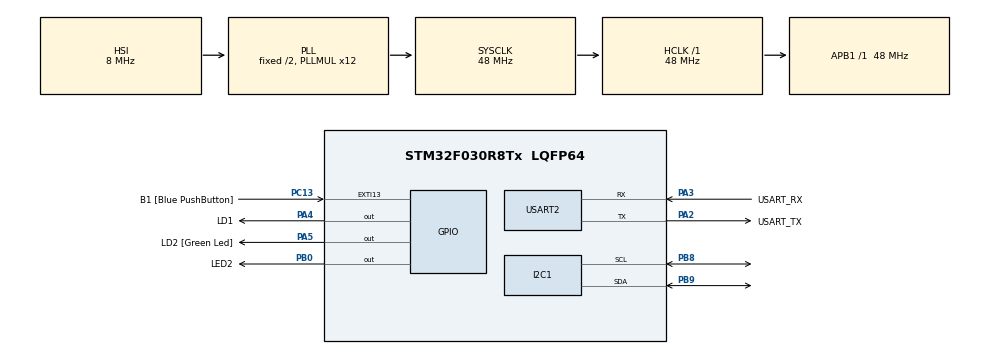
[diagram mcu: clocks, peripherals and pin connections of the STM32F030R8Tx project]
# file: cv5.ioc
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Dma.Request0=USART2_RX
Dma.USART2_RX.0.Direction=DMA_PERIPH_TO_MEMORY
Dma.USART2_RX.0.Instance=DMA1_Channel5
Dma.USART2_RX.0.MemDataAlignment=DMA_MDATAALIGN_BYTE
Dma.USART2_RX.0.MemInc=DMA_MINC_ENABLE
Dma.USART2_RX.0.Mode=DMA_CIRCULAR
Dma.USART2_RX.0.PeriphDataAlignment=DMA_PDATAALIGN_BYTE
Dma.USART2_RX.0.PeriphInc=DMA_PINC_DISABLE
Dma.USART2_RX.0.Priority=DMA_PRIORITY_LOW
Mcu.Family=STM32F0
Mcu.Name=STM32F030R8Tx
Mcu.Package=LQFP64
NVIC.DMA1_Channel4_5_IRQn=true\:0\:0\:false\:false\:true\:false\:true
PA13.GPIO_Label=TMS
PA13.Mode=Serial_Wire
PA13.Signal=SYS_SWDIO
PA14.GPIO_Label=TCK
PA14.Mode=Serial_Wire
PA14.Signal=SYS_SWCLK
PA2.GPIO_Label=USART_TX
PA2.GPIO_Mode=GPIO_MODE_AF_PP
PA2.GPIO_PuPd=GPIO_NOPULL
PA2.GPIO_Speed=GPIO_SPEED_FREQ_LOW
PA2.Mode=Asynchronous
PA2.Signal=USART2_TX
PA3.GPIO_Label=USART_RX
PA3.GPIO_Mode=GPIO_MODE_AF_PP
PA3.GPIO_PuPd=GPIO_NOPULL
PA3.GPIO_Speed=GPIO_SPEED_FREQ_LOW
PA3.Mode=Asynchronous
PA3.Signal=USART2_RX
PA4.GPIO_Label=LD1
PA4.Signal=GPIO_Output
PA5.GPIO_Label=LD2 [Green Led]
PA5.GPIO_Mode=GPIO_MODE_OUTPUT_PP
PA5.GPIO_PuPd=GPIO_NOPULL
PA5.GPIO_Speed=GPIO_SPEED_FREQ_LOW
PA5.Signal=GPIO_Output
PB0.GPIO_Label=LED2
PB0.Signal=GPIO_Output
PB8.Mode=I2C
PB8.Signal=I2C1_SCL
PB9.Mode=I2C
PB9.Signal=I2C1_SDA
PC13.GPIO_Label=B1 [Blue PushButton]
PC13.GPIO_ModeDefaultEXTI=GPIO_MODE_IT_FALLING
PC13.Signal=GPXTI13
PC14-OSC32_IN.Mode=LSE-External-Oscillator
PC14-OSC32_IN.Signal=RCC_OSC32_IN
PC15-OSC32_OUT.Mode=LSE-External-Oscillator
PC15-OSC32_OUT.Signal=RCC_OSC32_OUT
PF0-OSC_IN.Mode=HSE-External-Clock-Source
PF0-OSC_IN.Signal=RCC_OSC_IN
PF1-OSC_OUT.Signal=RCC_OSC_OUT
ProjectManager.HeapSize=0x200
ProjectManager.StackSize=0x400
ProjectManager.TargetToolchain=STM32CubeIDE
RCC.AHBFreq_Value=48000000
RCC.APB1Freq_Value=48000000
RCC.APB1TimFreq_Value=48000000
RCC.HCLKFreq_Value=48000000
RCC.PLLMUL=RCC_PLL_MUL12
RCC.SYSCLKFreq_VALUE=48000000
RCC.SYSCLKSource=RCC_SYSCLKSOURCE_PLLCLK
USART2.VirtualMode-Asynchronous=VM_ASYNC
board=NUCLEO-F030R8

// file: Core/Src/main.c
/* USER CODE BEGIN Header */
/**
  ******************************************************************************
  * @file           : main.c
  * @brief          : Main program body
  ******************************************************************************
  * @attention
  *
  * <h2><center>&copy; Copyright (c) 2020 STMicroelectronics.
  * All rights reserved.</center></h2>
  *
  * This software component is licensed by ST under BSD 3-Clause license,
  * the "License"; You may not use this file except in compliance with the
  * License. You may obtain a copy of the License at:
  *                        opensource.org/licenses/BSD-3-Clause
  *
  ******************************************************************************
  */
/* USER CODE END Header */

#include "main.h"

/* USER CODE BEGIN Includes */
#include <stdio.h>
#include <stdlib.h>
#include <string.h>
/* USER CODE END Includes */

/* USER CODE BEGIN PD */
#define RX_BUFFER_LEN 64
#define CMD_BUFFER_LEN 255
#define EEPROM_ADDR 0xA0
#define EEPROM_MAXPKT 32
#define EEPROM_WRITE 10
#define EEPROM_TIMEOUT             5*EEPROM_WRITE  //timeout while writing
#define EEPROM_SECTIONSIZE			64

static uint8_t uart_rx_buf[RX_BUFFER_LEN];
static volatile uint16_t uart_rx_read_ptr = 0;

#define uart_rx_write_ptr (RX_BUFFER_LEN - hdma_usart2_rx.Instance->CNDTR)
/* USER CODE END PD */

I2C_HandleTypeDef hi2c1;

UART_HandleTypeDef huart2;
DMA_HandleTypeDef hdma_usart2_rx;

/* USER CODE BEGIN PV */
uint32_t timeout;
/* USER CODE END PV */

void SystemClock_Config(void);
static void MX_GPIO_Init(void);
static void MX_DMA_Init(void);
static void MX_USART2_UART_Init(void);
static void MX_I2C1_Init(void);

/* USER CODE BEGIN 0 */
int _write(int file, char const *buf, int n)
{
	/* stdout redirection to UART2 */
	HAL_UART_Transmit(&huart2, (uint8_t*)(buf), n, HAL_MAX_DELAY);
	return n;
}

static void uart_process_command(char *cmd) {
	char cmd_buffer[CMD_BUFFER_LEN];
	int i_data = 0;
	int i_buffer = 0;
	char c;

	do {
		c = cmd[i_data];
		if ((c >= 32 && c <= 126) || c == '\0') {
			cmd_buffer[i_buffer] = cmd[i_data];
			i_buffer++;
		}
		i_data++;
	} while(c != '\0');

	char *token;
	token = strtok(cmd_buffer, " ");

	if (strcasecmp(token, "HELLO") == 0) {
		printf("Komunikace OK\n");
	}

	else if (strcasecmp(token, "LED1") == 0) {
		token = strtok(NULL, " ");

		if (strcasecmp(token, "ON") == 0) {
			printf("LED1 zapnout\n");
			token = strtok(NULL, " ");
			HAL_GPIO_WritePin(LD1_GPIO_Port, LD1_Pin, 1);
		}

		else if (strcasecmp(token, "OFF") == 0) {
			printf("LED1 vypnout\n");
			HAL_GPIO_WritePin(LD1_GPIO_Port, LD1_Pin, 0);
		}

	}

	else if (strcasecmp(token, "LED2") == 0) {
		token = strtok(NULL, " ");

		if (strcasecmp(token, "ON") == 0) {
			printf("LED2 zapnout\n");
			token = strtok(NULL, " ");
			HAL_GPIO_WritePin(LED2_GPIO_Port, LED2_Pin, 1);
		}

		else if (strcasecmp(token, "OFF") == 0) {
			printf("LED2 vypnout\n");
			HAL_GPIO_WritePin(LED2_GPIO_Port, LED2_Pin, 0);
		}

	}

	else if (strcasecmp(token, "READ") == 0) {
		token = strtok(NULL, " ");
		uint8_t addr = atoi(token);
		uint8_t data_read = 0;

		HAL_I2C_Mem_Read(&hi2c1, EEPROM_ADDR,
							addr, I2C_MEMADD_SIZE_16BIT,
							&data_read, EEPROM_MAXPKT, EEPROM_TIMEOUT);

		printf("Reading addr %x: %x \n", addr, data_read);

	}

	else if (strcasecmp(token, "WRITE") == 0) {
		token = strtok(NULL, " ");
		uint8_t addr = atoi(token);
		token = strtok(NULL, " ");
		uint8_t data_to_write = atoi(token);

		HAL_I2C_Mem_Write(&hi2c1, EEPROM_ADDR,
						addr, I2C_MEMADD_SIZE_16BIT,
						&data_to_write, EEPROM_MAXPKT, EEPROM_TIMEOUT);

		while (HAL_I2C_IsDeviceReady(&hi2c1, EEPROM_ADDR, 300, 1000) == HAL_TIMEOUT) {}

		printf("Writing addr %x: %x \n", addr, data_to_write);
	}

	else if (strcasecmp(token, "DUMP") == 0) {
		token = strtok(NULL, " ");
		static uint8_t data[CMD_BUFFER_LEN];

		printf("DUMP pameti \n");

		uint8_t address = 0;

		for(int i=0; i<0xf; i++) {
			HAL_I2C_Mem_Read(&hi2c1, EEPROM_ADDR,
					address + i, I2C_MEMADD_SIZE_16BIT,
					&data[i], EEPROM_MAXPKT, EEPROM_TIMEOUT);

			printf("Adresa: %x Data: %x\n", address+i, data[i]);
		}
	}

	else if (strcasecmp(token, "STATUS") == 0) {
		printf("LED1: %d \n", HAL_GPIO_ReadPin(LD1_GPIO_Port, LD1_Pin));
		printf("LED2: %d \n", HAL_GPIO_ReadPin(LED2_GPIO_Port, LED2_Pin));
	}

	printf("prijato: '%s'\n", cmd_buffer);
}

static void uart_byte_available(uint8_t c)
{
	static uint16_t cnt;
	static char data[CMD_BUFFER_LEN];

    if ((HAL_GetTick() - timeout) >= 2000)
       cnt = 0;

	if (cnt < CMD_BUFFER_LEN)
		data[cnt++] = c;

	if (c == '\n' || c == '\r')
	{
		data[cnt - 1] = '\0';
		uart_process_command(data);
		cnt = 0;
	}
}
/* USER CODE END 0 */

int main(void)
{

  /* MCU Configuration--------------------------------------------------------*/

  /* Reset of all peripherals, Initializes the Flash interface and the Systick. */
  HAL_Init();

  /* Configure the system clock */
  SystemClock_Config();

  /* Initialize all configured peripherals */
  MX_GPIO_Init();
  MX_DMA_Init();
  MX_USART2_UART_Init();
  MX_I2C1_Init();
  /* USER CODE BEGIN 2 */
  HAL_UART_Receive_DMA(&huart2, uart_rx_buf, RX_BUFFER_LEN);

  /* USER CODE END 2 */

  /* Infinite loop */
  /* USER CODE BEGIN WHILE */
  while (1)
  {
		while (uart_rx_read_ptr != uart_rx_write_ptr)
		{
			uint8_t b = uart_rx_buf[uart_rx_read_ptr];
			if (++uart_rx_read_ptr >= RX_BUFFER_LEN)
				uart_rx_read_ptr = 0; // increase read pointer
			uart_byte_available(b); // process every received byte with the RX state machine}
			timeout = HAL_GetTick();
		}
    /* USER CODE END WHILE */

  }
}

void SystemClock_Config(void)
{
  RCC_OscInitTypeDef RCC_OscInitStruct = {0};
  RCC_ClkInitTypeDef RCC_ClkInitStruct = {0};
  RCC_PeriphCLKInitTypeDef PeriphClkInit = {0};

  /** Initializes the CPU, AHB and APB busses clocks
  */
  RCC_OscInitStruct.OscillatorType = RCC_OSCILLATORTYPE_HSI;
  RCC_OscInitStruct.HSIState = RCC_HSI_ON;
  RCC_OscInitStruct.HSICalibrationValue = RCC_HSICALIBRATION_DEFAULT;
  RCC_OscInitStruct.PLL.PLLState = RCC_PLL_ON;
  RCC_OscInitStruct.PLL.PLLSource = RCC_PLLSOURCE_HSI;
  RCC_OscInitStruct.PLL.PLLMUL = RCC_PLL_MUL12;
  RCC_OscInitStruct.PLL.PREDIV = RCC_PREDIV_DIV1;
  if (HAL_RCC_OscConfig(&RCC_OscInitStruct) != HAL_OK)
  {
    Error_Handler();
  }
  /** Initializes the CPU, AHB and APB busses clocks
  */
  RCC_ClkInitStruct.ClockType = RCC_CLOCKTYPE_HCLK|RCC_CLOCKTYPE_SYSCLK
                              |RCC_CLOCKTYPE_PCLK1;
  RCC_ClkInitStruct.SYSCLKSource = RCC_SYSCLKSOURCE_PLLCLK;
  RCC_ClkInitStruct.AHBCLKDivider = RCC_SYSCLK_DIV1;
  RCC_ClkInitStruct.APB1CLKDivider = RCC_HCLK_DIV1;

  if (HAL_RCC_ClockConfig(&RCC_ClkInitStruct, FLASH_LATENCY_1) != HAL_OK)
  {
    Error_Handler();
  }
  PeriphClkInit.PeriphClockSelection = RCC_PERIPHCLK_I2C1;
  PeriphClkInit.I2c1ClockSelection = RCC_I2C1CLKSOURCE_HSI;
  if (HAL_RCCEx_PeriphCLKConfig(&PeriphClkInit) != HAL_OK)
  {
    Error_Handler();
  }
}

static void MX_I2C1_Init(void)
{

  hi2c1.Instance = I2C1;
  hi2c1.Init.Timing = 0x2000090E;
  hi2c1.Init.OwnAddress1 = 0;
  hi2c1.Init.AddressingMode = I2C_ADDRESSINGMODE_7BIT;
  hi2c1.Init.DualAddressMode = I2C_DUALADDRESS_DISABLE;
  hi2c1.Init.OwnAddress2 = 0;
  hi2c1.Init.OwnAddress2Masks = I2C_OA2_NOMASK;
  hi2c1.Init.GeneralCallMode = I2C_GENERALCALL_DISABLE;
  hi2c1.Init.NoStretchMode = I2C_NOSTRETCH_DISABLE;
  if (HAL_I2C_Init(&hi2c1) != HAL_OK)
  {
    Error_Handler();
  }
  /** Configure Analogue filter
  */
  if (HAL_I2CEx_ConfigAnalogFilter(&hi2c1, I2C_ANALOGFILTER_ENABLE) != HAL_OK)
  {
    Error_Handler();
  }
  /** Configure Digital filter
  */
  if (HAL_I2CEx_ConfigDigitalFilter(&hi2c1, 0) != HAL_OK)
  {
    Error_Handler();
  }

}

static void MX_USART2_UART_Init(void)
{

  huart2.Instance = USART2;
  huart2.Init.BaudRate = 38400;
  huart2.Init.WordLength = UART_WORDLENGTH_8B;
  huart2.Init.StopBits = UART_STOPBITS_1;
  huart2.Init.Parity = UART_PARITY_NONE;
  huart2.Init.Mode = UART_MODE_TX_RX;
  huart2.Init.HwFlowCtl = UART_HWCONTROL_NONE;
  huart2.Init.OverSampling = UART_OVERSAMPLING_16;
  huart2.Init.OneBitSampling = UART_ONE_BIT_SAMPLE_DISABLE;
  huart2.AdvancedInit.AdvFeatureInit = UART_ADVFEATURE_NO_INIT;
  if (HAL_UART_Init(&huart2) != HAL_OK)
  {
    Error_Handler();
  }

}

static void MX_DMA_Init(void)
{

  /* DMA controller clock enable */
  __HAL_RCC_DMA1_CLK_ENABLE();

  /* DMA interrupt init */
  /* DMA1_Channel4_5_IRQn interrupt configuration */
  HAL_NVIC_SetPriority(DMA1_Channel4_5_IRQn, 0, 0);
  HAL_NVIC_EnableIRQ(DMA1_Channel4_5_IRQn);

}

static void MX_GPIO_Init(void)
{
  GPIO_InitTypeDef GPIO_InitStruct = {0};

  /* GPIO Ports Clock Enable */
  __HAL_RCC_GPIOC_CLK_ENABLE();
  __HAL_RCC_GPIOF_CLK_ENABLE();
  __HAL_RCC_GPIOA_CLK_ENABLE();
  __HAL_RCC_GPIOB_CLK_ENABLE();

  /*Configure GPIO pin Output Level */
  HAL_GPIO_WritePin(GPIOA, LD1_Pin|LD2_Pin, GPIO_PIN_RESET);

  /*Configure GPIO pin Output Level */
  HAL_GPIO_WritePin(LED2_GPIO_Port, LED2_Pin, GPIO_PIN_RESET);

  /*Configure GPIO pin : B1_Pin */
  GPIO_InitStruct.Pin = B1_Pin;
  GPIO_InitStruct.Mode = GPIO_MODE_IT_FALLING;
  GPIO_InitStruct.Pull = GPIO_NOPULL;
  HAL_GPIO_Init(B1_GPIO_Port, &GPIO_InitStruct);

  /*Configure GPIO pins : LD1_Pin LD2_Pin */
  GPIO_InitStruct.Pin = LD1_Pin|LD2_Pin;
  GPIO_InitStruct.Mode = GPIO_MODE_OUTPUT_PP;
  GPIO_InitStruct.Pull = GPIO_NOPULL;
  GPIO_InitStruct.Speed = GPIO_SPEED_FREQ_LOW;
  HAL_GPIO_Init(GPIOA, &GPIO_InitStruct);

  /*Configure GPIO pin : LED2_Pin */
  GPIO_InitStruct.Pin = LED2_Pin;
  GPIO_InitStruct.Mode = GPIO_MODE_OUTPUT_PP;
  GPIO_InitStruct.Pull = GPIO_NOPULL;
  GPIO_InitStruct.Speed = GPIO_SPEED_FREQ_LOW;
  HAL_GPIO_Init(LED2_GPIO_Port, &GPIO_InitStruct);

}

void Error_Handler(void)
{
}

/************************ (C) COPYRIGHT STMicroelectronics *****END OF FILE****/
